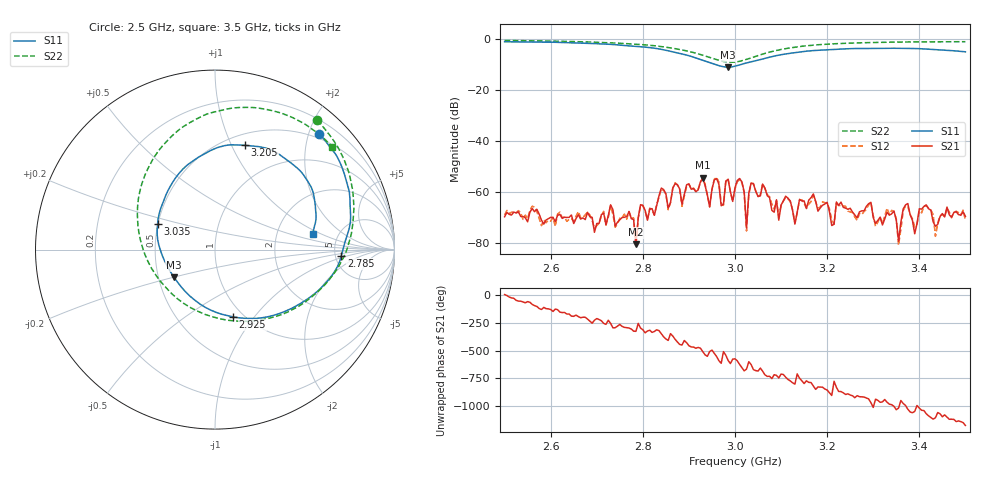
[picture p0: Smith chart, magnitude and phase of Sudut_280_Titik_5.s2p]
# Hz S RI R 50
! CMT, C1220, 16058040, 17.2.0/1
! Date: 15/08/2018 10:27:15
! Data: Format (Calibration Info)
! Freq  S11: Re/Im (F2)  S21: Re/Im (F2)  S12: Re/Im (F2)  S22: Re/Im (F2)
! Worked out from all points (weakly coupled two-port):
!   201 points, 2.5 GHz to 3.5 GHz, reference 50 ohm
!   highest |S21| = -54.52 dB at 2.93 GHz (marker M1); lowest = -80.7 dB at 2.785 GHz (marker M2)
!   lowest |S11| = -11.2 dB at 2.985 GHz (marker M3), VSWR 1.76, Z = 30.1 - j10 ohm
!   |S11| at or under -10 dB: 2.954 GHz to 3.016 GHz (61.47 MHz wide, 2.06 % of centre)
!   |S22| runs from -9.3 to -0.7 dB; largest |S21 - S12| = 0.00016
!   S11 on the Smith chart (normalised r, x): 2.5 GHz: 0.42, +2.19; 2.785 GHz: 5.66, -0.80; 2.925 GHz: 0.89, -0.79; 3.035 GHz: 0.50, +0.16; 3.205 GHz: 0.62, +1.13; 3.5 GHz: 3.23, +0.81
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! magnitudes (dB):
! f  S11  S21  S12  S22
! 2.5 GHz  -1.2  -69.8  -69.1  -0.7
! 2.67 GHz  -1.8  -70.3  -70.1  -1.3
! 2.77 GHz  -2.9  -67.8  -67.8  -2.0
! 2.785 GHz  -3.0  -80.7  -81.4  -2.2
! 2.795 GHz  -3.2  -65.1  -65.3  -2.3
! 2.835 GHz  -4.0  -61.7  -62.2  -3.0
! 2.925 GHz  -8.2  -56.1  -56.4  -6.2
! 2.93 GHz  -8.5  -54.5  -54.9  -6.5
! 2.945 GHz  -9.4  -66.0  -65.8  -7.4
! 2.985 GHz  -11.2  -55.2  -54.8  -9.2
! 3 GHz  -10.8  -58.5  -59.0  -9.2
! 3.015 GHz  -10.0  -56.2  -56.4  -8.7
! 3.025 GHz  -9.5  -74.1  -75.4  -8.2
! 3.035 GHz  -9.1  -56.6  -56.9  -7.6
! 3.13 GHz  -5.5  -72.7  -72.3  -3.4
! 3.17 GHz  -4.7  -60.9  -61.4  -2.6
! 3.205 GHz  -4.4  -67.9  -66.8  -2.2
! 3.335 GHz  -3.8  -69.2  -69.0  -1.4
! 3.355 GHz  -3.8  -79.4  -80.9  -1.4
! 3.37 GHz  -3.8  -65.2  -65.6  -1.3
! 3.39 GHz  -3.9  -76.5  -73.8  -1.3
! 3.5 GHz  -5.2  -69.7  -71.1  -1.2
